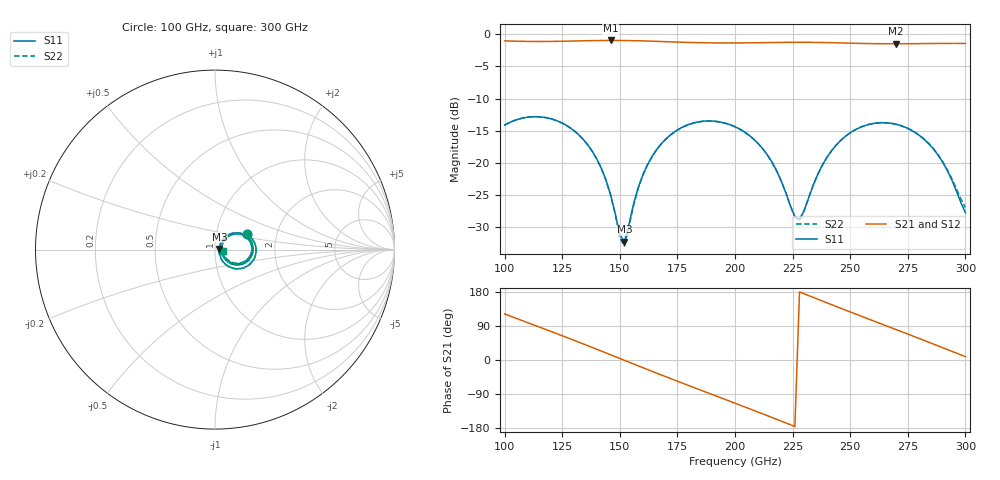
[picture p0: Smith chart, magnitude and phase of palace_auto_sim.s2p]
#  GHZ S DB R 50
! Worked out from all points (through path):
!   101 points, 100 GHz to 300 GHz, reference 50 ohm
!   highest |S21| = -0.96 dB at 146 GHz (marker M1); lowest = -1.5 dB at 270 GHz (marker M2)
!   group delay of S21, straight-line fit = 6.58 ps
!   lowest |S11| = -32.2 dB at 152 GHz (marker M3), VSWR 1.05, Z = 52.5 + j0.348 ohm
!   |S11| at or under -10 dB: start of sweep to end of sweep
!   |S22| runs from -32.9 to -12.8 dB; largest |S21 - S12| = 1e-13
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100  -14.10 25.6  -1.02 121.6  -1.02 121.6  -14.10 25.4
118  -12.95 -11.4  -1.11 80.2  -1.11 80.2  -12.95 -11.7
134  -16.27 -43.5  -1.01 42.8  -1.01 42.8  -16.28 -44.1
140  -19.36 -53.1  -0.98 28.4  -0.98 28.4  -19.37 -54.1
146  -24.90 -54.7  -0.96 13.8  -0.96 13.8  -24.99 -56.5
150  -31.09 -29.2  -0.96 4.1  -0.96 4.1  -31.57 -31.7
152  -32.20 7.8  -0.97 -0.8  -0.97 -0.8  -32.90 8.2
160  -21.82 51.0  -1.03 -20.2  -1.03 -20.2  -21.90 52.3
168  -17.00 40.8  -1.12 -39.4  -1.12 -39.4  -17.03 41.5
184  -13.61 10.4  -1.30 -76.9  -1.30 -76.9  -13.62 10.8
200  -14.35 -20.1  -1.35 -114.0  -1.35 -114.0  -14.36 -19.8
214  -18.70 -41.8  -1.29 -146.8  -1.29 -146.8  -18.72 -41.4
226  -28.38 -15.0  -1.25 -175.6  -1.25 -175.6  -28.36 -14.4
228  -28.77 7.7  -1.25 179.6  -1.25 179.6  -28.74 8.2
234  -23.39 44.0  -1.26 165.1  -1.26 165.1  -23.37 44.2
240  -19.06 43.9  -1.30 150.6  -1.30 150.6  -19.05 44.2
248  -15.82 32.4  -1.36 131.6  -1.36 131.6  -15.82 32.8
258  -14.00 13.9  -1.44 108.0  -1.44 108.0  -14.01 14.4
268  -13.84 -5.4  -1.47 84.7  -1.47 84.7  -13.83 -4.8
270  -13.98 -9.3  -1.47 80.1  -1.47 80.1  -13.98 -8.5
286  -17.76 -36.5  -1.43 42.4  -1.43 42.4  -17.71 -34.9
300  -27.70 -14.1  -1.42 8.8  -1.42 8.8  -26.89 -11.7
